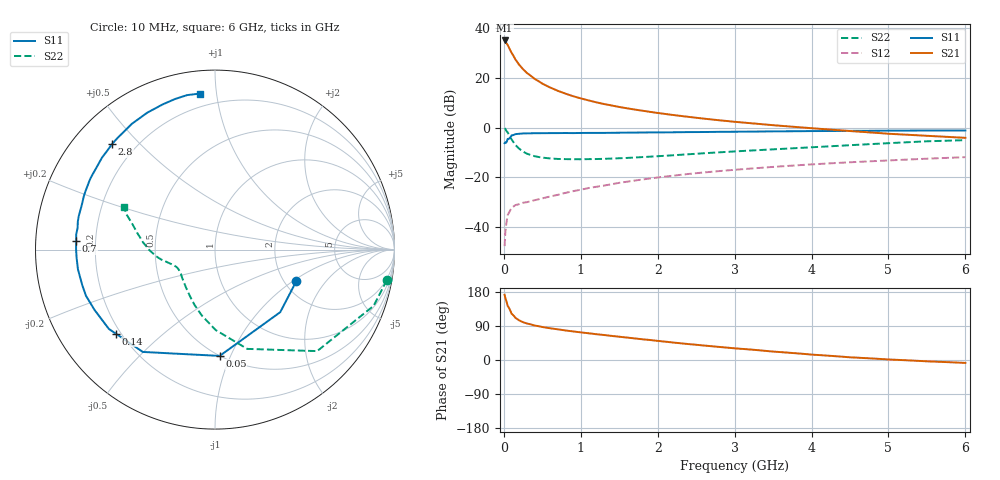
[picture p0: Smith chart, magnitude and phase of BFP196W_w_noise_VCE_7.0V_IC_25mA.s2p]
! (c) 2017  Infineon Technologies AG, Munich
! Infineon Technologies  Discrete & RF Semiconductors
! BFP196W
! VCE =  7.0 V,  IC =  25 mA
! Common Emitter S-Parameters:  Jan 2017
# GHz  S  MA  R  50
!  f  S11  S21  S12  S22
! GHz  MAG  ANG  MAG  ANG  MAG  ANG  MAG  ANG
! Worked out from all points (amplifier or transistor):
!   77 points, 10 MHz to 6 GHz, reference 50 ohm
!   highest |S21| = 35.1 dB at 10 MHz (marker M1)
!   |S21| within 3 dB of that: start of sweep to 68.93 MHz
!   unconditionally stable (mu >= 1): 915.5 MHz to 3.215 GHz
!   at 130 MHz: K = 0.27, MSG = 30.1 dB, |S12| = -31.7 dB
!   at 2.2 GHz: K = 1.06, MAG = 10.8 dB, |S12| = -19.4 dB
!   at 6 GHz: K = 0.91, MSG = 3.9 dB, |S12| = -11.9 dB
!   lowest NFmin = 1.07 dB at 450 MHz
!   S11 on the Smith chart (normalised r, x): 10 MHz: 2.31, -1.07; 50 MHz: 0.50, -0.91; 140 MHz: 0.18, -0.36; 700 MHz: 0.13, +0.03; 2.8 GHz: 0.11, +0.42; 6 GHz: 0.12, +0.90
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0.01  0.4859 -21.4  56.8 172.1  0.0041 83.3  0.9723 -10.1
0.02  0.5036 -43.8  55.02 163.2  0.008 78.5  0.9379 -19.5
0.05  0.5929 -87.5  46.01 142.8  0.0173 58.2  0.8025 -44.8
0.1  0.6978 -125.2  32.16 122.2  0.024 43.5  0.5817 -72.0
0.14  0.7246 -139.8  25.24 114.1  0.0268 38.5  0.471 -85.2
0.15  0.7382 -143.2  23.61 111.4  0.0275 37.4  0.4484 -89.5
0.2  0.7506 -153.4  18.35 104.5  0.0288 36.0  0.3752 -101.2
0.25  0.7635 -160.3  14.96 99.7  0.0307 35.2  0.3286 -110.3
0.3  0.7657 -165.0  12.58 96.3  0.0315 36.2  0.2983 -117.3
0.4  0.7715 -171.8  9.576 91.0  0.0345 39.2  0.2653 -127.7
0.5  0.7725 -176.6  7.687 87.1  0.0376 41.5  0.2484 -134.9
0.6  0.774 179.8  6.433 83.8  0.041 45.3  0.2401 -140.2
0.7  0.7751 176.6  5.512 81.0  0.0443 47.7  0.2338 -143.9
0.9  0.7749 171.0  4.288 75.4  0.0525 50.9  0.2311 -149.1
1.1  0.7817 166.3  3.53 70.6  0.0606 53.3  0.2319 -152.6
1.5  0.7887 158.0  2.602 61.4  0.0772 55.2  0.2416 -158.0
2.1  0.8021 146.2  1.881 48.4  0.1033 54.5  0.2712 -164.5
2.8  0.822 134.2  1.404 34.5  0.1331 51.0  0.3177 -171.6
3.1  0.8274 129.5  1.269 29.3  0.1453 49.0  0.3379 -175.0
4.1  0.852 115.0  0.947 13.0  0.1854 42.0  0.4092 173.1
5.1  0.8689 104.0  0.738 0.5  0.2218 34.5  0.4944 161.5
6  0.8734 95.4  0.622 -7.7  0.2542 27.6  0.5587 155.0
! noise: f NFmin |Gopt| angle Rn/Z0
0.45  1.07  0.43  175  0.05
0.9  1.24  0.51  -179  0.06
1.9  2.11  0.68  -152  0.12
2.4  2.53  0.74  -146  0.21
